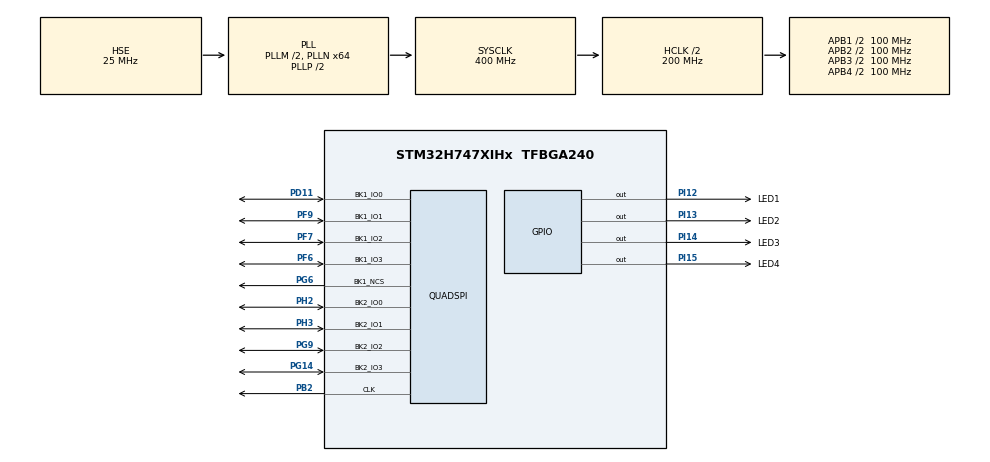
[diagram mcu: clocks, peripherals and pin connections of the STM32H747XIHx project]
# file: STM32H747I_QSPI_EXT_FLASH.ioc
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CORTEX_M7.CPU_DCache=Disabled
CORTEX_M7.CPU_ICache=Disabled
CortexM4.IPs=BDMA,DMA,FATFS_M4\:I,FREERTOS_M4\:I,IWDG2\:I,MDMA,NVIC2\:I,RCC,USB_DEVICE_M4\:I,USB_HOST_M4\:I,WWDG2\:I,PDM2PCM_M4\:I,PWR,RESMGR_UTILITY,SYS_M4\:I,CORTEX_M4\:I,OPENAMP_M4\:I,VREFBUF,GPIO
CortexM7.IPs=BDMA\:I,DMA\:I,FATFS_M7\:I,FREERTOS_M7\:I,IWDG1\:I,MDMA\:I,NVIC1\:I,RCC\:I,USB_DEVICE_M7\:I,USB_HOST_M7\:I,WWDG1\:I,CORTEX_M7\:I,DEBUG\:I,PDM2PCM_M7\:I,PWR\:I,RESMGR_UTILITY\:I,SYS\:I,OPENAMP_M7\:I,VREFBUF\:I,GPIO\:I,QUADSPI\:I
CortexM7.Pins=PI12,PI13,PI14,PI15
Mcu.Family=STM32H7
Mcu.Name=STM32H747XIHx
Mcu.Package=TFBGA240
NVIC1.PriorityGroup=NVIC_PRIORITYGROUP_4
NVIC2.PriorityGroup=NVIC_PRIORITYGROUP_4
PB2.GPIO_Speed=GPIO_SPEED_FREQ_VERY_HIGH
PB2.Mode=Dual_Bank
PB2.PinAttribute=CortexM7
PB2.Signal=QUADSPI_CLK
PD11.GPIO_Speed=GPIO_SPEED_FREQ_VERY_HIGH
PD11.Mode=Dual_Bank
PD11.PinAttribute=CortexM7
PD11.Signal=QUADSPI_BK1_IO0
PF6.GPIO_Speed=GPIO_SPEED_FREQ_VERY_HIGH
PF6.Mode=Dual_Bank
PF6.PinAttribute=CortexM7
PF6.Signal=QUADSPI_BK1_IO3
PF7.GPIO_Speed=GPIO_SPEED_FREQ_VERY_HIGH
PF7.Mode=Dual_Bank
PF7.PinAttribute=CortexM7
PF7.Signal=QUADSPI_BK1_IO2
PF9.GPIO_Speed=GPIO_SPEED_FREQ_VERY_HIGH
PF9.Mode=Dual_Bank
PF9.PinAttribute=CortexM7
PF9.Signal=QUADSPI_BK1_IO1
PG14.GPIO_Speed=GPIO_SPEED_FREQ_VERY_HIGH
PG14.Mode=Dual_Bank
PG14.PinAttribute=CortexM7
PG14.Signal=QUADSPI_BK2_IO3
PG6.GPIO_PuPd=GPIO_PULLUP
PG6.GPIO_Speed=GPIO_SPEED_FREQ_VERY_HIGH
PG6.Mode=Enable Chip Select 1 for both banks
PG6.PinAttribute=CortexM7
PG6.Signal=QUADSPI_BK1_NCS
PG9.GPIO_Speed=GPIO_SPEED_FREQ_VERY_HIGH
PG9.Mode=Dual_Bank
PG9.PinAttribute=CortexM7
PG9.Signal=QUADSPI_BK2_IO2
PH0-OSC_IN\ (PH0).Mode=HSE-External-Oscillator
PH0-OSC_IN\ (PH0).PinAttribute=Free
PH0-OSC_IN\ (PH0).Signal=RCC_OSC_IN
PH1-OSC_OUT\ (PH1).Mode=HSE-External-Oscillator
PH1-OSC_OUT\ (PH1).PinAttribute=Free
PH1-OSC_OUT\ (PH1).Signal=RCC_OSC_OUT
PH2.GPIO_Speed=GPIO_SPEED_FREQ_VERY_HIGH
PH2.Mode=Dual_Bank
PH2.PinAttribute=CortexM7
PH2.Signal=QUADSPI_BK2_IO0
PH3.GPIO_Speed=GPIO_SPEED_FREQ_VERY_HIGH
PH3.Mode=Dual_Bank
PH3.PinAttribute=CortexM7
PH3.Signal=QUADSPI_BK2_IO1
PI12.GPIO_Label=LED1
PI12.PinAttribute=CortexM7
PI12.PinState=GPIO_PIN_SET
PI12.Signal=GPIO_Output
PI13.GPIO_Label=LED2
PI13.PinAttribute=CortexM7
PI13.PinState=GPIO_PIN_SET
PI13.Signal=GPIO_Output
PI14.GPIO_Label=LED3
PI14.PinAttribute=CortexM7
PI14.PinState=GPIO_PIN_SET
PI14.Signal=GPIO_Output
PI15.GPIO_Label=LED4
PI15.PinAttribute=CortexM7
PI15.PinState=GPIO_PIN_SET
PI15.Signal=GPIO_Output
ProjectManager.HeapSize=M4-0x200,M7-0x200
ProjectManager.StackSize=M4-0x400,M7-0x1000
ProjectManager.TargetToolchain=STM32CubeIDE
QUADSPI.ChipSelectHighTime=QSPI_CS_HIGH_TIME_3_CYCLE
QUADSPI.ClockPrescaler=1
QUADSPI.FifoThreshold=1
QUADSPI.FlashSize=26
QUADSPI.SampleShifting=QSPI_SAMPLE_SHIFTING_HALFCYCLE
RCC.ADCFreq_Value=75000000
RCC.APB1Freq_Value=100000000
RCC.APB2Freq_Value=100000000
RCC.APB3Freq_Value=100000000
RCC.APB4Freq_Value=100000000
RCC.CortexFreq_Value=400000000
RCC.D1PPRE=RCC_APB3_DIV2
RCC.D2PPRE1=RCC_APB1_DIV2
RCC.D2PPRE2=RCC_APB2_DIV2
RCC.D3PPRE=RCC_APB4_DIV2
RCC.DIVM1=2
RCC.DIVM2=2
RCC.DIVN1=64
RCC.DIVN2=12
RCC.DIVQ1=5
RCC.HCLKFreq_Value=200000000
RCC.HPRE=RCC_HCLK_DIV2
RCC.PLL2FRACN=0
RCC.PLL3FRACN=0
RCC.PLLFRACN=0
RCC.PLLSourceVirtual=RCC_PLLSOURCE_HSE
RCC.PWR_Regulator_Voltage_Scale=PWR_REGULATOR_VOLTAGE_SCALE1
RCC.SYSCLKFreq_VALUE=400000000
RCC.SYSCLKSource=RCC_SYSCLKSOURCE_PLLCLK
RCC.SupplySource=PWR_DIRECT_SMPS_SUPPLY
RCC.USBFreq_Value=160000000
VP_SYS_M4_VS_Systick.Mode=SysTick
board=STM32H747I-DISCO

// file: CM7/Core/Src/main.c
/* USER CODE BEGIN Header */
/**
 ******************************************************************************
 * @file           : main.c
 * @brief          : Main program body
 ******************************************************************************
 * @attention
 *
 * Copyright (c) 2025 STMicroelectronics.
 * All rights reserved.
 *
 * This software is licensed under terms that can be found in the LICENSE file
 * in the root directory of this software component.
 * If no LICENSE file comes with this software, it is provided AS-IS.
 *
 ******************************************************************************
 */
/* USER CODE END Header */
#include "main.h"
#include "quadspi.h"
#include "gpio.h"

/* USER CODE BEGIN Includes */
#include <string.h>
#include "mt25ql512abb.h"
/* USER CODE END Includes */

/* USER CODE BEGIN PD */

/* DUAL_CORE_BOOT_SYNC_SEQUENCE: Define for dual core boot synchronization    */
/*                             demonstration code based on hardware semaphore */
/* This define is present in both CM7/CM4 projects                            */
/* To comment when developping/debugging on a single core                     */
#define DUAL_CORE_BOOT_SYNC_SEQUENCE

#if defined(DUAL_CORE_BOOT_SYNC_SEQUENCE)
#ifndef HSEM_ID_0
#define HSEM_ID_0 (0U) /* HW semaphore 0*/
#endif
#endif /* DUAL_CORE_BOOT_SYNC_SEQUENCE */

/* USER CODE END PD */

void SystemClock_Config(void);
/* USER CODE BEGIN PFP */
int QSPI_Write_Full_Chip(void);
int QSPI_Verify_Full_Chip(void);
int Erase_Test_Flag(void);
int Write_Test_Flag(void);
/* USER CODE END PFP */

/* USER CODE BEGIN 0 */

#define QSPI_DUAL_MODE

#ifdef QSPI_DUAL_MODE
#define QSPI_FLASH_SIZE         (0x8000000) /* 128 MB (2 * 512Mbit) */
#define QSPI_SECTOR_SIZE        (0x20000)   /* 128 KB (2 * 64KB) */
#define QSPI_SUBSECTOR_SIZE     (0x2000)    /* 8 KB (2 * 4KB) */
#define QSPI_PAGE_SIZE          (512)       /* 512 Bytes (2 * 256B) */
#define QSPI_DUAL_FLASH_MODE    MT25QL512ABB_DUALFLASH_ENABLE
#else
#define QSPI_FLASH_SIZE         (0x4000000) /* 64 MB (1 * 512Mbit) */
#define QSPI_SECTOR_SIZE        (0x10000)   /* 64 KB */
#define QSPI_SUBSECTOR_SIZE     (0x1000)    /* 4 KB */
#define QSPI_PAGE_SIZE          (256)       /* 256 Bytes */
#define QSPI_DUAL_FLASH_MODE    MT25QL512ABB_DUALFLASH_DISABLE
#endif

#define TEST_BUFFER_SIZE        (QSPI_PAGE_SIZE)
#define NUM_SECTORS             (QSPI_FLASH_SIZE / QSPI_SECTOR_SIZE)
#define TEST_STATE_FLAG_ADDRESS ((NUM_SECTORS - 1) * QSPI_SECTOR_SIZE)
#define WRITE_COMPLETE_FLAG     0x5A5A5A5A

#define FSR_ALL_ERROR_FLAGS   (MT25QL512ABB_FSR_E_FAIL | MT25QL512ABB_FSR_P_FAIL | MT25QL512ABB_FSR_PRE)

uint8_t aTxBuffer[TEST_BUFFER_SIZE];
uint8_t aRxBuffer[TEST_BUFFER_SIZE];
MT25QL512ABB_Info_t flashInfo;

/**
 * @brief  Initializes the QSPI interface and the MT25QL512ABB flash memory.
 * @retval 0 on success, -1 on failure.
 */
int QSPI_Init(void)
{
  uint8_t id[6] = {0};

  /* 1. Not Mandatory, Reset memory  */
  if(MT25QL512ABB_ResetEnable(&hqspi, MT25QL512ABB_SPI_MODE) != MT25QL512ABB_OK) { return -1; }
  if(MT25QL512ABB_ResetMemory(&hqspi, MT25QL512ABB_SPI_MODE) != MT25QL512ABB_OK) { return -1; }
  HAL_Delay(1);

  /* 2. Enter QPI mode */
  if(MT25QL512ABB_EnterQPIMode(&hqspi) != MT25QL512ABB_OK) { return -1; }

  /* 3. Read ID and verify based on the selected mode */
  if(MT25QL512ABB_ReadID(&hqspi, MT25QL512ABB_QPI_MODE, id, QSPI_DUAL_FLASH_MODE) != MT25QL512ABB_OK) { return -1; }

#ifdef QSPI_DUAL_MODE
  if((id[0] != 0x20) || (id[1] != 0x20) || (id[2] != 0xBA) || (id[3] != 0xBA) || (id[4] != 0x20) || (id[5] != 0x20)) { return -1; }
#else
  if((id[0] != 0x20) || (id[1] != 0xBA) || (id[2] != 0x20)) { return -1; }
#endif

  /* 4. Enter 4-byte address mode */
  if(MT25QL512ABB_Enter4BytesAddressMode(&hqspi, MT25QL512ABB_QPI_MODE) != MT25QL512ABB_OK) { return -1; }

  /* 5. Optional, Set Dummy Cycles */
  //if(MT25QL512ABB_SetDummyCycles(&hqspi, MT25QL512ABB_QPI_MODE, QSPI_DUAL_FLASH_MODE) != MT25QL512ABB_OK) { return -1; }

  return 0;
}

/**
 * @brief  Writes a test pattern to the QSPI flash
 * @retval 0 on success, -1 on failure
 */
int QSPI_Write_Full_Chip(void)
{
  uint32_t num_sectors = (NUM_SECTORS - 1);
  uint32_t num_pages = QSPI_SECTOR_SIZE / TEST_BUFFER_SIZE;

  for(uint32_t i = 0; i < num_sectors; i++)
  {
    uint32_t sector_base_addr = i * QSPI_SECTOR_SIZE;
    uint32_t page_index = i % num_pages;
    uint32_t current_addr = sector_base_addr + (page_index * TEST_BUFFER_SIZE);

    /* 1. Fill aTxBuffer */
    for(uint16_t j = 0; j < TEST_BUFFER_SIZE; j++) { aTxBuffer[j] = (j & 0xFF); }

    /* 2. Erase */
    if(MT25QL512ABB_WriteEnable(&hqspi, MT25QL512ABB_QPI_MODE, QSPI_DUAL_FLASH_MODE) != MT25QL512ABB_OK) { return -1; }
    if(MT25QL512ABB_BlockErase(&hqspi, MT25QL512ABB_QPI_MODE, MT25QL512ABB_4BYTES_SIZE, sector_base_addr, MT25QL512ABB_ERASE_64K) != MT25QL512ABB_OK) { return -1; }
    if(MT25QL512ABB_AutoPollingMemReady(&hqspi, MT25QL512ABB_QPI_MODE, QSPI_DUAL_FLASH_MODE) != MT25QL512ABB_OK) { return -1; }

    /* 3. Write */
    if(MT25QL512ABB_WriteEnable(&hqspi, MT25QL512ABB_QPI_MODE, QSPI_DUAL_FLASH_MODE) != MT25QL512ABB_OK) { return -1; }
    if(MT25QL512ABB_PageProgram(&hqspi, MT25QL512ABB_QPI_MODE, MT25QL512ABB_4BYTES_SIZE, aTxBuffer, current_addr, TEST_BUFFER_SIZE) != MT25QL512ABB_OK) { return -1; }
    if(MT25QL512ABB_AutoPollingMemReady(&hqspi, MT25QL512ABB_QPI_MODE, QSPI_DUAL_FLASH_MODE) != MT25QL512ABB_OK) { return -1; }

    /* 4. Check Flag Register */
    uint8_t flag_status[2] = { 0 };
    if(MT25QL512ABB_ReadFlagStatusRegister(&hqspi, MT25QL512ABB_QPI_MODE, QSPI_DUAL_FLASH_MODE, flag_status) != MT25QL512ABB_OK) { return -1; }
    if(((flag_status[0] & FSR_ALL_ERROR_FLAGS) != 0) || ((flag_status[1] & FSR_ALL_ERROR_FLAGS) != 0)) { return -1; }

    HAL_GPIO_TogglePin(LED4_GPIO_Port, LED4_Pin);
  }

  HAL_GPIO_WritePin(LED4_GPIO_Port, LED4_Pin, GPIO_PIN_SET);
  return 0;
}

/**
 * @brief  Verifies the test pattern
 * @retval 0 on success, -1 on failure
 */
int QSPI_Verify_Full_Chip(void)
{
  uint32_t num_sectors = (NUM_SECTORS - 1);
  uint32_t num_pages = QSPI_SECTOR_SIZE / TEST_BUFFER_SIZE;

  for(uint32_t i = 0; i < num_sectors; i++)
  {
    uint32_t sector_base_addr = i * QSPI_SECTOR_SIZE;
    uint32_t page_index = i % num_pages;
    uint32_t current_addr = sector_base_addr + (page_index * TEST_BUFFER_SIZE);

    /* 1. Fill aTxBuffer */
    for(uint16_t j = 0; j < TEST_BUFFER_SIZE; j++) { aTxBuffer[j] = (j & 0xFF); }

    /* 2. Read */
    if(MT25QL512ABB_ReadSTR(&hqspi, MT25QL512ABB_QPI_MODE, MT25QL512ABB_4BYTES_SIZE, aRxBuffer, current_addr, TEST_BUFFER_SIZE) != MT25QL512ABB_OK) { return -1; }

    /* 3. Compare */
    if(memcmp(aRxBuffer, aTxBuffer,TEST_BUFFER_SIZE ) != 0) { return -1; }

    HAL_GPIO_TogglePin(LED4_GPIO_Port, LED4_Pin);
  }

  HAL_GPIO_WritePin(LED4_GPIO_Port, LED4_Pin, GPIO_PIN_SET);
  return 0;
}

/**
 * @brief  Writes the 'Write Complete' flag to its dedicated sector.
 * @retval 0 on success, -1 on failure.
 */
int Write_Test_Flag(void)
{
  uint32_t flag_data = WRITE_COMPLETE_FLAG;

  /* 1. Erase */
  if(MT25QL512ABB_WriteEnable(&hqspi, MT25QL512ABB_QPI_MODE, QSPI_DUAL_FLASH_MODE) != MT25QL512ABB_OK) { return -1; }
  if(MT25QL512ABB_BlockErase(&hqspi, MT25QL512ABB_QPI_MODE, MT25QL512ABB_4BYTES_SIZE, TEST_STATE_FLAG_ADDRESS, MT25QL512ABB_ERASE_64K) != MT25QL512ABB_OK) { return -1; }
  if(MT25QL512ABB_AutoPollingMemReady(&hqspi, MT25QL512ABB_QPI_MODE, QSPI_DUAL_FLASH_MODE) != MT25QL512ABB_OK) { return -1; }

  /* 2. Write flag */
  if(MT25QL512ABB_WriteEnable(&hqspi, MT25QL512ABB_QPI_MODE, QSPI_DUAL_FLASH_MODE) != MT25QL512ABB_OK) { return -1; }
  if(MT25QL512ABB_PageProgram(&hqspi, MT25QL512ABB_QPI_MODE, MT25QL512ABB_4BYTES_SIZE, (uint8_t*) &flag_data, TEST_STATE_FLAG_ADDRESS, sizeof(flag_data)) != MT25QL512ABB_OK) { return -1; }
  if(MT25QL512ABB_AutoPollingMemReady(&hqspi, MT25QL512ABB_QPI_MODE, QSPI_DUAL_FLASH_MODE) != MT25QL512ABB_OK) { return -1; }

  return 0;
}

/**
 * @brief  Erases the flash sector dedicated to the test state flag.
 * @retval 0 on success, -1 on failure.
 */
int Erase_Test_Flag(void)
{
  /* 1. Erase flag */
  if(MT25QL512ABB_WriteEnable(&hqspi, MT25QL512ABB_QPI_MODE, QSPI_DUAL_FLASH_MODE) != MT25QL512ABB_OK) { return -1; }
  if(MT25QL512ABB_BlockErase(&hqspi, MT25QL512ABB_QPI_MODE, MT25QL512ABB_4BYTES_SIZE, TEST_STATE_FLAG_ADDRESS, MT25QL512ABB_ERASE_64K) != MT25QL512ABB_OK) { return -1; }
  if(MT25QL512ABB_AutoPollingMemReady(&hqspi, MT25QL512ABB_QPI_MODE, QSPI_DUAL_FLASH_MODE) != MT25QL512ABB_OK) { return -1; }

  return 0;
}

/* USER CODE END 0 */

int main(void)
{

  /* USER CODE BEGIN Boot_Mode_Sequence_0 */
#if defined(DUAL_CORE_BOOT_SYNC_SEQUENCE)
  int32_t timeout;
#endif /* DUAL_CORE_BOOT_SYNC_SEQUENCE */
  /* USER CODE END Boot_Mode_Sequence_0 */

  /* USER CODE BEGIN Boot_Mode_Sequence_1 */
#if defined(DUAL_CORE_BOOT_SYNC_SEQUENCE)
  /* Wait until CPU2 boots and enters in stop mode or timeout*/
  timeout = 0xFFFF;
  while((__HAL_RCC_GET_FLAG(RCC_FLAG_D2CKRDY) != RESET) && (timeout-- > 0))
    ;
  if(timeout < 0)
  {
    Error_Handler();
  }
#endif /* DUAL_CORE_BOOT_SYNC_SEQUENCE */
  /* USER CODE END Boot_Mode_Sequence_1 */
  /* MCU Configuration--------------------------------------------------------*/

  /* Reset of all peripherals, Initializes the Flash interface and the Systick. */
  HAL_Init();

  /* Configure the system clock */
  SystemClock_Config();
  /* USER CODE BEGIN Boot_Mode_Sequence_2 */
#if defined(DUAL_CORE_BOOT_SYNC_SEQUENCE)
  /* When system initialization is finished, Cortex-M7 will release Cortex-M4 by means of
   HSEM notification */
  /*HW semaphore Clock enable*/
  __HAL_RCC_HSEM_CLK_ENABLE();
  /*Take HSEM */
  HAL_HSEM_FastTake(HSEM_ID_0);
  /*Release HSEM in order to notify the CPU2(CM4)*/
  HAL_HSEM_Release(HSEM_ID_0, 0);
  /* wait until CPU2 wakes up from stop mode */
  timeout = 0xFFFF;
  while((__HAL_RCC_GET_FLAG(RCC_FLAG_D2CKRDY) == RESET) && (timeout-- > 0))
    ;
  if(timeout < 0)
  {
    Error_Handler();
  }
#endif /* DUAL_CORE_BOOT_SYNC_SEQUENCE */
  /* USER CODE END Boot_Mode_Sequence_2 */

  /* Initialize all configured peripherals */
  MX_GPIO_Init();
  MX_QUADSPI_Init();
  /* USER CODE BEGIN 2 */

  uint32_t test_state_flag = 0;

  /* 1. QPI Initialize */
  if(QSPI_Init() < 0)
  {
    Error_Handler();
  }

  /* 2. Read flag */
  if(MT25QL512ABB_ReadSTR(&hqspi, MT25QL512ABB_QPI_MODE, MT25QL512ABB_4BYTES_SIZE, (uint8_t*) &test_state_flag, TEST_STATE_FLAG_ADDRESS, sizeof(test_state_flag)) != MT25QL512ABB_OK)
  {
    Error_Handler();
  }

  if(test_state_flag != WRITE_COMPLETE_FLAG)
  {
    /* 3. Write Stage */
    HAL_GPIO_WritePin(LED2_GPIO_Port, LED2_Pin, GPIO_PIN_RESET);

    if(QSPI_Write_Full_Chip() < 0) { Error_Handler(); }

    if(Write_Test_Flag() < 0) { Error_Handler(); }

    HAL_NVIC_SystemReset();
  }
  else
  {
    /*4. Verification Stage */
    if(QSPI_Verify_Full_Chip() < 0)
    {
      HAL_GPIO_WritePin(LED3_GPIO_Port, LED3_Pin, GPIO_PIN_RESET); // Red LED for Verify Fail
    }
    else
    {
      HAL_GPIO_WritePin(LED1_GPIO_Port, LED1_Pin, GPIO_PIN_RESET); // Green LED for Verify Success
    }

    if(Erase_Test_Flag() < 0)
    {
      Error_Handler();
    }
  }

  /* USER CODE END 2 */

  /* Infinite loop */
  while(1)
  {

  }
}

void SystemClock_Config(void)
{
  RCC_OscInitTypeDef RCC_OscInitStruct =
  { 0 };
  RCC_ClkInitTypeDef RCC_ClkInitStruct =
  { 0 };

  /** Supply configuration update enable
   */
  HAL_PWREx_ConfigSupply(PWR_DIRECT_SMPS_SUPPLY);

  /** Configure the main internal regulator output voltage
   */
  __HAL_PWR_VOLTAGESCALING_CONFIG(PWR_REGULATOR_VOLTAGE_SCALE1);

  while(!__HAL_PWR_GET_FLAG(PWR_FLAG_VOSRDY))
  {
  }

  /** Initializes the RCC Oscillators according to the specified parameters
   * in the RCC_OscInitTypeDef structure.
   */
  RCC_OscInitStruct.OscillatorType = RCC_OSCILLATORTYPE_HSE;
  RCC_OscInitStruct.HSEState = RCC_HSE_ON;
  RCC_OscInitStruct.PLL.PLLState = RCC_PLL_ON;
  RCC_OscInitStruct.PLL.PLLSource = RCC_PLLSOURCE_HSE;
  RCC_OscInitStruct.PLL.PLLM = 2;
  RCC_OscInitStruct.PLL.PLLN = 64;
  RCC_OscInitStruct.PLL.PLLP = 2;
  RCC_OscInitStruct.PLL.PLLQ = 5;
  RCC_OscInitStruct.PLL.PLLR = 2;
  RCC_OscInitStruct.PLL.PLLRGE = RCC_PLL1VCIRANGE_3;
  RCC_OscInitStruct.PLL.PLLVCOSEL = RCC_PLL1VCOWIDE;
  RCC_OscInitStruct.PLL.PLLFRACN = 0;
  if(HAL_RCC_OscConfig(&RCC_OscInitStruct) != HAL_OK)
  {
    Error_Handler();
  }

  /** Initializes the CPU, AHB and APB buses clocks
   */
  RCC_ClkInitStruct.ClockType = RCC_CLOCKTYPE_HCLK | RCC_CLOCKTYPE_SYSCLK | RCC_CLOCKTYPE_PCLK1 | RCC_CLOCKTYPE_PCLK2 | RCC_CLOCKTYPE_D3PCLK1
      | RCC_CLOCKTYPE_D1PCLK1;
  RCC_ClkInitStruct.SYSCLKSource = RCC_SYSCLKSOURCE_PLLCLK;
  RCC_ClkInitStruct.SYSCLKDivider = RCC_SYSCLK_DIV1;
  RCC_ClkInitStruct.AHBCLKDivider = RCC_HCLK_DIV2;
  RCC_ClkInitStruct.APB3CLKDivider = RCC_APB3_DIV2;
  RCC_ClkInitStruct.APB1CLKDivider = RCC_APB1_DIV2;
  RCC_ClkInitStruct.APB2CLKDivider = RCC_APB2_DIV2;
  RCC_ClkInitStruct.APB4CLKDivider = RCC_APB4_DIV2;

  if(HAL_RCC_ClockConfig(&RCC_ClkInitStruct, FLASH_LATENCY_2) != HAL_OK)
  {
    Error_Handler();
  }
}

void Error_Handler(void)
{
  /* USER CODE BEGIN Error_Handler_Debug */
  /* User can add his own implementation to report the HAL error return state */
  __disable_irq();
  while(1)
  {
    HAL_GPIO_WritePin(LED3_GPIO_Port, LED3_Pin, GPIO_PIN_RESET); // Red LED ON
  }
  /* USER CODE END Error_Handler_Debug */
}
